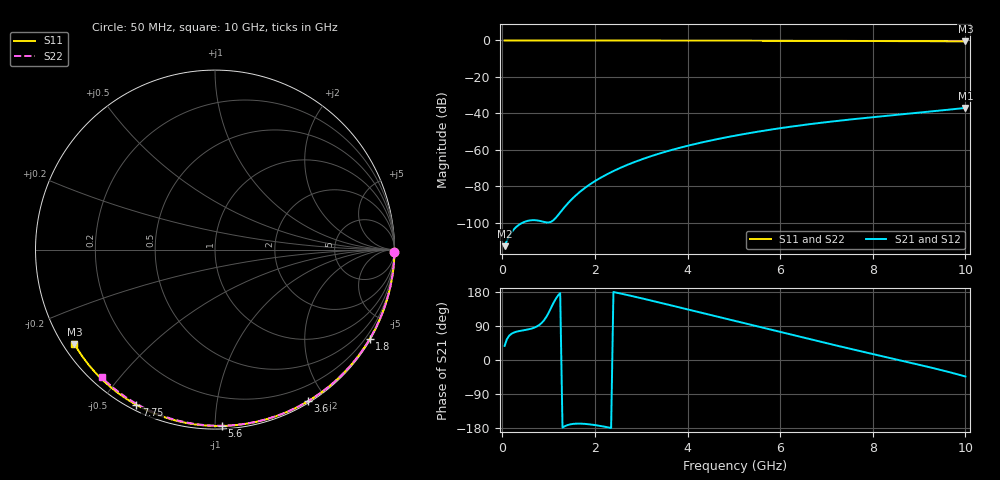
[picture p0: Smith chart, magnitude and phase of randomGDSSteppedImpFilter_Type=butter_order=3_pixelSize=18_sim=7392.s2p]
! freq	dB(S11)	phase(S11)	dB(S12)	phase(S12)
!  dB(S21)	phase(S21)	dB(S22)	phase(S22)
!S-par simulation data
#  GHz  S  DB  R 50
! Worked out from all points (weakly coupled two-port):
!   200 points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, 50 MHz to 10 GHz, reference 50 ohm
!   highest |S21| = -37.06 dB at 10 GHz (marker M1); lowest = -113.0 dB at 50 MHz (marker M2)
!   lowest |S11| = -0.5 dB at 10 GHz (marker M3), VSWR 34.13, Z = 1.6 - j15.2 ohm
!   |S11| at or under -10 dB: nowhere
!   |S22| runs from -0.4 to 0.0 dB; largest |S21 - S12| = 0
!   S11 on the Smith chart (normalised r, x): 50 MHz: open; 1.8 GHz: 0.03, -3.74; 3.6 GHz: 0.02, -1.79; 5.6 GHz: 0.02, -1.04; 7.75 GHz: 0.02, -0.61; 10 GHz: 0.03, -0.30
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0.05  -0.00 -0.8  -112.98 37.3  -112.98 37.3  -0.00 -0.8
0.45  -0.01 -7.6  -99.93 78.3  -99.93 78.3  -0.01 -6.8
0.9  -0.02 -15.1  -99.68 104.6  -99.68 104.6  -0.02 -13.6
1.75  -0.04 -29.2  -81.66 -168.3  -81.66 -168.3  -0.03 -26.3
1.8  -0.04 -30.0  -80.70 -168.8  -80.70 -168.8  -0.03 -27.0
1.85  -0.04 -30.8  -79.79 -169.4  -79.79 -169.4  -0.04 -27.7
2.05  -0.04 -34.0  -76.49 -172.7  -76.49 -172.7  -0.04 -30.7
2.2  -0.05 -36.5  -74.33 -175.8  -74.33 -175.8  -0.04 -32.8
2.55  -0.05 -42.1  -69.97 175.6  -69.97 175.6  -0.05 -37.9
2.95  -0.06 -48.4  -65.87 164.5  -65.87 164.5  -0.06 -43.6
3.4  -0.07 -55.4  -62.04 151.4  -62.04 151.4  -0.07 -50.0
3.6  -0.08 -58.5  -60.55 145.5  -60.55 145.5  -0.07 -52.8
4.3  -0.10 -69.0  -56.06 124.6  -56.06 124.6  -0.09 -62.4
5.05  -0.12 -80.0  -52.17 102.2  -52.17 102.2  -0.11 -72.3
5.6  -0.14 -87.8  -49.76 85.8  -49.76 85.8  -0.13 -79.5
6.15  -0.17 -95.4  -47.64 69.5  -47.64 69.5  -0.15 -86.4
6.7  -0.20 -102.9  -45.78 53.2  -45.78 53.2  -0.18 -93.2
7.2  -0.23 -109.6  -44.27 38.6  -44.27 38.6  -0.21 -99.3
7.75  -0.27 -116.9  -42.78 22.8  -42.78 22.8  -0.24 -105.8
8.35  -0.32 -124.8  -41.27 5.9  -41.27 5.9  -0.29 -112.8
9.2  -0.41 -135.8  -39.15 -18.3  -39.15 -18.3  -0.36 -122.6
10  -0.51 -146.1  -37.06 -43.6  -37.06 -43.6  -0.44 -131.7
